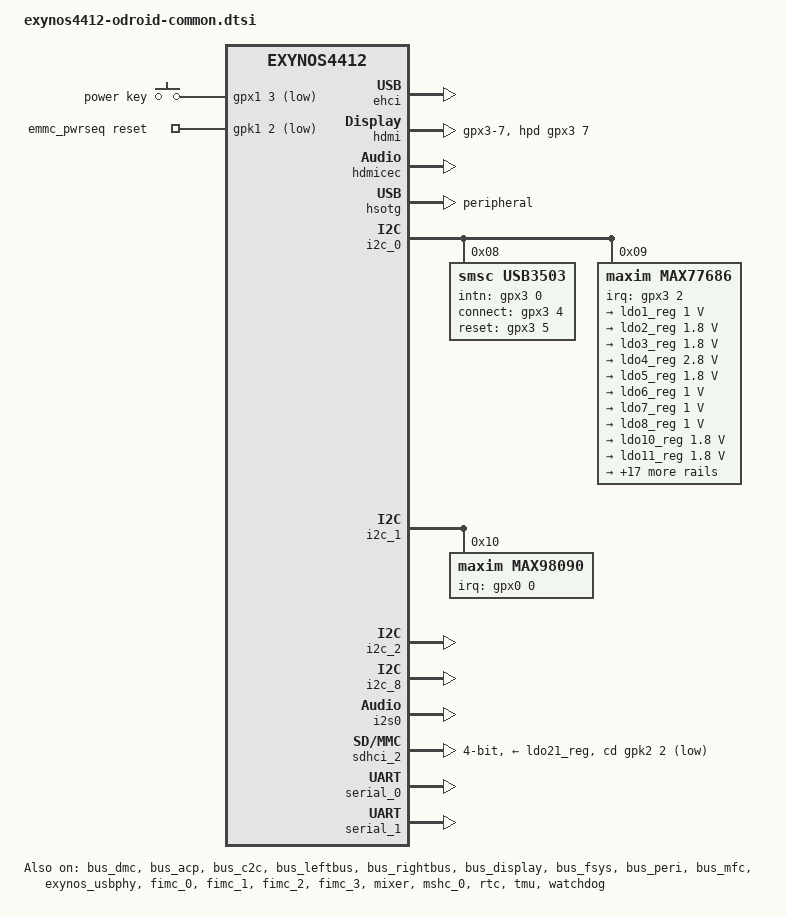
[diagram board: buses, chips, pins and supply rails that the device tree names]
/*
 * Common definition for Hardkernel's Exynos4412 based ODROID-X/X2/U2/U3 boards
 * device tree source
 *
 * This program is free software; you can redistribute it and/or modify
 * it under the terms of the GNU General Public License version 2 as
 * published by the Free Software Foundation.
*/

#include <dt-bindings/sound/samsung-i2s.h>
#include <dt-bindings/input/input.h>
#include <dt-bindings/clock/maxim,max77686.h>
#include "exynos4412.dtsi"
#include "exynos4412-ppmu-common.dtsi"
#include <dt-bindings/gpio/gpio.h>
#include "exynos-mfc-reserved-memory.dtsi"

/ {
	chosen {
		stdout-path = &serial_1;
	};

	firmware@0204F000 {
		compatible = "samsung,secure-firmware";
		reg = <0x0204F000 0x1000>;
	};

	gpio_keys {
		compatible = "gpio-keys";
		pinctrl-names = "default";
		pinctrl-0 = <&gpio_power_key>;

		power_key {
			interrupt-parent = <&gpx1>;
			interrupts = <3 0>;
			gpios = <&gpx1 3 GPIO_ACTIVE_LOW>;
			linux,code = <KEY_POWER>;
			label = "power key";
			debounce-interval = <10>;
			wakeup-source;
		};
	};

	sound: sound {
		compatible = "simple-audio-card";

		simple-audio-card,format = "i2s";
		simple-audio-card,bitclock-master = <&link0_codec>;
		simple-audio-card,frame-master = <&link0_codec>;

		simple-audio-card,cpu {
			sound-dai = <&i2s0 0>;
			system-clock-frequency = <19200000>;
		};

		link0_codec: simple-audio-card,codec {
			sound-dai = <&max98090>;
			clocks = <&i2s0 CLK_I2S_CDCLK>;
		};
	};

	emmc_pwrseq: pwrseq {
		pinctrl-0 = <&sd1_cd>;
		pinctrl-names = "default";
		compatible = "mmc-pwrseq-emmc";
		reset-gpios = <&gpk1 2 GPIO_ACTIVE_LOW>;
	};

	camera {
		status = "okay";
		pinctrl-names = "default";
		pinctrl-0 = <>;
	};

	fixed-rate-clocks {
		xxti {
			compatible = "samsung,clock-xxti";
			clock-frequency = <0>;
		};

		xusbxti {
			compatible = "samsung,clock-xusbxti";
			clock-frequency = <24000000>;
		};
	};

	thermal-zones {
		cpu_thermal: cpu-thermal {
			cooling-maps {
				cooling_map0: map0 {
				     /* Corresponds to 800MHz at freq_table */
				     cooling-device = <&cpu0 7 7>;
				};
				cooling_map1: map1 {
				     /* Corresponds to 200MHz at freq_table */
				     cooling-device = <&cpu0 13 13>;
			       };
		       };
		};
	};
};

&bus_dmc {
	devfreq-events = <&ppmu_dmc0_3>, <&ppmu_dmc1_3>;
	vdd-supply = <&buck1_reg>;
	status = "okay";
};

&bus_acp {
	devfreq = <&bus_dmc>;
	status = "okay";
};

&bus_c2c {
	devfreq = <&bus_dmc>;
	status = "okay";
};

&bus_leftbus {
	devfreq-events = <&ppmu_leftbus_3>, <&ppmu_rightbus_3>;
	vdd-supply = <&buck3_reg>;
	status = "okay";
};

&bus_rightbus {
	devfreq = <&bus_leftbus>;
	status = "okay";
};

&bus_display {
	devfreq = <&bus_leftbus>;
	status = "okay";
};

&bus_fsys {
	devfreq = <&bus_leftbus>;
	status = "okay";
};

&bus_peri {
	devfreq = <&bus_leftbus>;
	status = "okay";
};

&bus_mfc {
	devfreq = <&bus_leftbus>;
	status = "okay";
};

&clock_audss {
	assigned-clocks = <&clock_audss EXYNOS_MOUT_AUDSS>,
			<&clock_audss EXYNOS_MOUT_I2S>,
			<&clock_audss EXYNOS_DOUT_SRP>,
			<&clock_audss EXYNOS_DOUT_AUD_BUS>;
	assigned-clock-parents = <&clock CLK_FOUT_EPLL>,
			<&clock_audss EXYNOS_MOUT_AUDSS>;
	assigned-clock-rates = <0>, <0>, <192000000>, <19200000>;
};

&cpu0 {
	cpu0-supply = <&buck2_reg>;
};

/* RSTN signal for eMMC */
&sd1_cd {
	samsung,pin-pud = <EXYNOS_PIN_PULL_NONE>;
	samsung,pin-drv = <EXYNOS4_PIN_DRV_LV1>;
};

&pinctrl_1 {
	gpio_power_key: power_key {
		samsung,pins = "gpx1-3";
		samsung,pin-pud = <EXYNOS_PIN_PULL_NONE>;
	};

	max77686_irq: max77686-irq {
		samsung,pins = "gpx3-2";
		samsung,pin-function = <EXYNOS_PIN_FUNC_INPUT>;
		samsung,pin-pud = <EXYNOS_PIN_PULL_NONE>;
		samsung,pin-drv = <EXYNOS4_PIN_DRV_LV1>;
	};

	hdmi_hpd: hdmi-hpd {
		samsung,pins = "gpx3-7";
		samsung,pin-pud = <EXYNOS_PIN_PULL_DOWN>;
	};
};

&ehci {
	status = "okay";
};

&exynos_usbphy {
	status = "okay";
};

&fimc_0 {
	status = "okay";
	assigned-clocks = <&clock CLK_MOUT_FIMC0>,
			<&clock CLK_SCLK_FIMC0>;
	assigned-clock-parents = <&clock CLK_MOUT_MPLL_USER_T>;
	assigned-clock-rates = <0>, <176000000>;
};

&fimc_1 {
	status = "okay";
	assigned-clocks = <&clock CLK_MOUT_FIMC1>,
			<&clock CLK_SCLK_FIMC1>;
	assigned-clock-parents = <&clock CLK_MOUT_MPLL_USER_T>;
	assigned-clock-rates = <0>, <176000000>;
};

&fimc_2 {
	status = "okay";
	assigned-clocks = <&clock CLK_MOUT_FIMC2>,
			<&clock CLK_SCLK_FIMC2>;
	assigned-clock-parents = <&clock CLK_MOUT_MPLL_USER_T>;
	assigned-clock-rates = <0>, <176000000>;
};

&fimc_3 {
	status = "okay";
	assigned-clocks = <&clock CLK_MOUT_FIMC3>,
			<&clock CLK_SCLK_FIMC3>;
	assigned-clock-parents = <&clock CLK_MOUT_MPLL_USER_T>;
	assigned-clock-rates = <0>, <176000000>;
};

&hdmi {
	hpd-gpios = <&gpx3 7 GPIO_ACTIVE_HIGH>;
	pinctrl-names = "default";
	pinctrl-0 = <&hdmi_hpd>;
	vdd-supply = <&ldo8_reg>;
	vdd_osc-supply = <&ldo10_reg>;
	vdd_pll-supply = <&ldo8_reg>;
	ddc = <&i2c_2>;
	status = "okay";
};

&hdmicec {
	status = "okay";
};

&hsotg {
	dr_mode = "peripheral";
	status = "okay";
	vusb_d-supply = <&ldo15_reg>;
	vusb_a-supply = <&ldo12_reg>;
};

&i2c_0 {
	samsung,i2c-sda-delay = <100>;
	samsung,i2c-max-bus-freq = <400000>;
	status = "okay";

	usb3503: usb3503@08 {
		compatible = "smsc,usb3503";
		reg = <0x08>;

		intn-gpios = <&gpx3 0 GPIO_ACTIVE_HIGH>;
		connect-gpios = <&gpx3 4 GPIO_ACTIVE_HIGH>;
		reset-gpios = <&gpx3 5 GPIO_ACTIVE_HIGH>;
		initial-mode = <1>;
	};

	max77686: pmic@09 {
		compatible = "maxim,max77686";
		interrupt-parent = <&gpx3>;
		interrupts = <2 0>;
		pinctrl-names = "default";
		pinctrl-0 = <&max77686_irq>;
		reg = <0x09>;
		#clock-cells = <1>;

		voltage-regulators {
			ldo1_reg: LDO1 {
				regulator-name = "VDD_ALIVE_1.0V";
				regulator-min-microvolt = <1000000>;
				regulator-max-microvolt = <1000000>;
				regulator-always-on;
			};

			ldo2_reg: LDO2 {
				regulator-name = "VDDQ_M1_2_1.8V";
				regulator-min-microvolt = <1800000>;
				regulator-max-microvolt = <1800000>;
				regulator-always-on;
			};

			ldo3_reg: LDO3 {
				regulator-name = "VDDQ_EXT_1.8V";
				regulator-min-microvolt = <1800000>;
				regulator-max-microvolt = <1800000>;
				regulator-always-on;
			};

			ldo4_reg: LDO4 {
				regulator-name = "VDDQ_MMC2_2.8V";
				regulator-min-microvolt = <2800000>;
				regulator-max-microvolt = <2800000>;
				regulator-boot-on;
			};

			ldo5_reg: LDO5 {
				regulator-name = "VDDQ_MMC1_3_1.8V";
				regulator-min-microvolt = <1800000>;
				regulator-max-microvolt = <1800000>;
				regulator-always-on;
				regulator-boot-on;
			};

			ldo6_reg: LDO6 {
				regulator-name = "VDD10_MPLL_1.0V";
				regulator-min-microvolt = <1000000>;
				regulator-max-microvolt = <1000000>;
				regulator-always-on;
			};

			ldo7_reg: LDO7 {
				regulator-name = "VDD10_XPLL_1.0V";
				regulator-min-microvolt = <1000000>;
				regulator-max-microvolt = <1000000>;
				regulator-always-on;
			};

			ldo8_reg: LDO8 {
				regulator-name = "VDD10_HDMI_1.0V";
				regulator-min-microvolt = <1000000>;
				regulator-max-microvolt = <1000000>;
			};

			ldo10_reg: LDO10 {
				regulator-name = "VDDQ_MIPIHSI_1.8V";
				regulator-min-microvolt = <1800000>;
				regulator-max-microvolt = <1800000>;
			};

			ldo11_reg: LDO11 {
				regulator-name = "VDD18_ABB1_1.8V";
				regulator-min-microvolt = <1800000>;
				regulator-max-microvolt = <1800000>;
				regulator-always-on;
			};

			ldo12_reg: LDO12 {
				regulator-name = "VDD33_USB_3.3V";
				regulator-min-microvolt = <3300000>;
				regulator-max-microvolt = <3300000>;
				regulator-always-on;
				regulator-boot-on;
			};

			ldo13_reg: LDO13 {
				regulator-name = "VDDQ_C2C_W_1.8V";
				regulator-min-microvolt = <1800000>;
				regulator-max-microvolt = <1800000>;
				regulator-always-on;
				regulator-boot-on;
			};

			ldo14_reg: LDO14 {
				regulator-name = "VDD18_ABB0_2_1.8V";
				regulator-min-microvolt = <1800000>;
				regulator-max-microvolt = <1800000>;
				regulator-always-on;
				regulator-boot-on;
			};

			ldo15_reg: LDO15 {
				regulator-name = "VDD10_HSIC_1.0V";
				regulator-min-microvolt = <1000000>;
				regulator-max-microvolt = <1000000>;
				regulator-always-on;
				regulator-boot-on;
			};

			ldo16_reg: LDO16 {
				regulator-name = "VDD18_HSIC_1.8V";
				regulator-min-microvolt = <1800000>;
				regulator-max-microvolt = <1800000>;
				regulator-always-on;
				regulator-boot-on;
			};

			ldo20_reg: LDO20 {
				regulator-name = "LDO20_1.8V";
				regulator-min-microvolt = <1800000>;
				regulator-max-microvolt = <1800000>;
				regulator-boot-on;
			};

			ldo21_reg: LDO21 {
				regulator-name = "TFLASH_2.8V";
				regulator-min-microvolt = <2800000>;
				regulator-max-microvolt = <2800000>;
				regulator-boot-on;
			};

			ldo22_reg: LDO22 {
				/*
				 * Only U3 uses it, so let it define the
				 * constraints
				 */
				regulator-name = "LDO22";
				regulator-boot-on;
			};

			ldo25_reg: LDO25 {
				regulator-name = "VDDQ_LCD_1.8V";
				regulator-min-microvolt = <1800000>;
				regulator-max-microvolt = <1800000>;
				regulator-always-on;
				regulator-boot-on;
			};

			buck1_reg: BUCK1 {
				regulator-name = "vdd_mif";
				regulator-min-microvolt = <900000>;
				regulator-max-microvolt = <1100000>;
				regulator-always-on;
				regulator-boot-on;
			};

			buck2_reg: BUCK2 {
				regulator-name = "vdd_arm";
				regulator-min-microvolt = <900000>;
				regulator-max-microvolt = <1350000>;
				regulator-always-on;
				regulator-boot-on;
			};

			buck3_reg: BUCK3 {
				regulator-name = "vdd_int";
				regulator-min-microvolt = <900000>;
				regulator-max-microvolt = <1050000>;
				regulator-always-on;
				regulator-boot-on;
			};

			buck4_reg: BUCK4 {
				regulator-name = "vdd_g3d";
				regulator-min-microvolt = <900000>;
				regulator-max-microvolt = <1100000>;
				regulator-microvolt-offset = <50000>;
			};

			buck5_reg: BUCK5 {
				regulator-name = "VDDQ_CKEM1_2_1.2V";
				regulator-min-microvolt = <1200000>;
				regulator-max-microvolt = <1200000>;
				regulator-always-on;
				regulator-boot-on;
			};

			buck6_reg: BUCK6 {
				regulator-name = "BUCK6_1.35V";
				regulator-min-microvolt = <1350000>;
				regulator-max-microvolt = <1350000>;
				regulator-always-on;
				regulator-boot-on;
			};

			buck7_reg: BUCK7 {
				regulator-name = "BUCK7_2.0V";
				regulator-min-microvolt = <2000000>;
				regulator-max-microvolt = <2000000>;
				regulator-always-on;
			};

			buck8_reg: BUCK8 {
				/*
				 * Constraints set by specific board: X,
				 * X2 and U3.
				 */
				regulator-name = "BUCK8_2.8V";
			};
		};
	};
};

&i2c_1 {
	status = "okay";
	max98090: max98090@10 {
		compatible = "maxim,max98090";
		reg = <0x10>;
		interrupt-parent = <&gpx0>;
		interrupts = <0 0>;
		clocks = <&i2s0 CLK_I2S_CDCLK>;
		clock-names = "mclk";
		#sound-dai-cells = <0>;
	};
};

&i2c_2 {
	status = "okay";
};

&i2c_8 {
	status = "okay";
};

&i2s0 {
	pinctrl-0 = <&i2s0_bus>;
	pinctrl-names = "default";
	status = "okay";
};

&mixer {
	status = "okay";
};

&mshc_0 {
	pinctrl-0 = <&sd4_clk &sd4_cmd &sd4_bus4 &sd4_bus8>;
	pinctrl-names = "default";
	vmmc-supply = <&ldo20_reg>;
	mmc-pwrseq = <&emmc_pwrseq>;
	status = "okay";

	num-slots = <1>;
	broken-cd;
	card-detect-delay = <200>;
	samsung,dw-mshc-ciu-div = <3>;
	samsung,dw-mshc-sdr-timing = <2 3>;
	samsung,dw-mshc-ddr-timing = <1 2>;
	bus-width = <8>;
	cap-mmc-highspeed;
};

&rtc {
	status = "okay";
	clocks = <&clock CLK_RTC>, <&max77686 MAX77686_CLK_AP>;
	clock-names = "rtc", "rtc_src";
};

&sdhci_2 {
	bus-width = <4>;
	pinctrl-0 = <&sd2_clk &sd2_cmd &sd2_cd &sd2_bus4>;
	pinctrl-names = "default";
	vmmc-supply = <&ldo21_reg>;
	vqmmc-supply = <&ldo4_reg>;
	cd-gpios = <&gpk2 2 GPIO_ACTIVE_HIGH>;
	cd-inverted;
	status = "okay";
};

&serial_0 {
	status = "okay";
};

&serial_1 {
	status = "okay";
};

&tmu {
	vtmu-supply = <&ldo10_reg>;
	status = "okay";
};

&watchdog {
	status = "okay";
};
